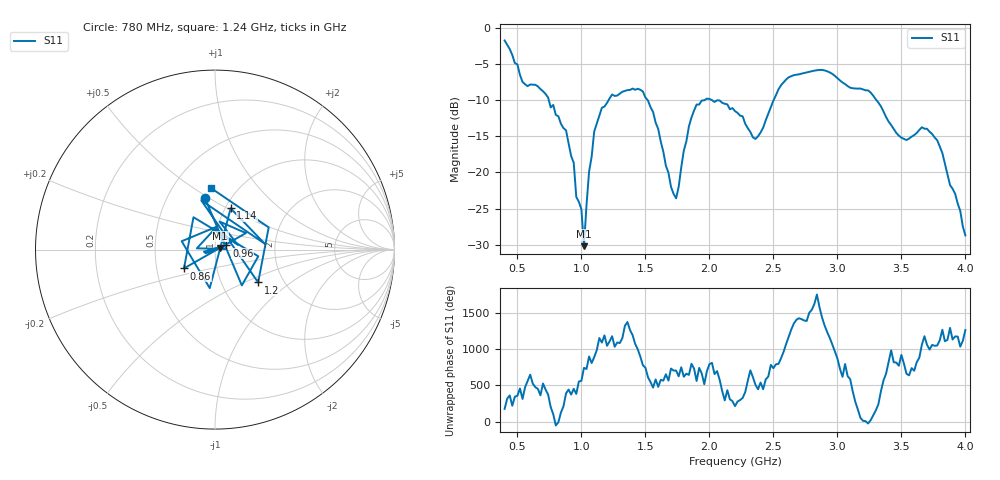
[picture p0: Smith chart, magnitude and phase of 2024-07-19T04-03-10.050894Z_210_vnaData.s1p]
!Created with skrf (http://scikit-rf.org).
# Hz S RI R 50.0
!freq ReS11 ImS11
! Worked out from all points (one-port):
!   181 points, 400 MHz to 4 GHz, reference 50 ohm
!   lowest |S11| = -30.2 dB at 1.02 GHz (marker M1), VSWR 1.06, Z = 53 + j1.04 ohm
!   |S11| at or under -10 dB: 744.9 MHz to 1.213 GHz (468.3 MHz wide, 47.8 % of centre); 2.017 GHz to 2.502 GHz (485.1 MHz wide, 21.5 % of centre); 3.304 GHz to end of sweep (the widest 3 of 4)
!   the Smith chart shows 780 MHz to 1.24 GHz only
!   S11 on the Smith chart (normalised r, x): 780 MHz: 0.76, +0.48; 860 MHz: 0.69, -0.15; 960 MHz: 1.13, +0.05; 1.14 GHz: 1.06, +0.52; 1.2 GHz: 1.49, -0.60; 1.24 GHz: 0.75, +0.59
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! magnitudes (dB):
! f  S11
! 400 MHz  -1.8
! 540 MHz  -7.5
! 780 MHz  -10.7
! 860 MHz  -13.9
! 940 MHz  -18.7
! 960 MHz  -23.4
! 1 GHz  -25.1
! 1.02 GHz  -30.2
! 1.06 GHz  -19.9
! 1.1 GHz  -14.4
! 1.14 GHz  -12.2
! 1.2 GHz  -10.4
! 1.24 GHz  -9.2
! 1.3 GHz  -9.1
! 1.48 GHz  -8.8
! 1.6 GHz  -14.0
! 1.72 GHz  -23.0
! 1.76 GHz  -22.0
! 1.84 GHz  -13.6
! 1.9 GHz  -10.6
! 2.2 GHz  -11.5
! 2.36 GHz  -15.4
! 2.66 GHz  -6.6
! 3.1 GHz  -8.3
! 3.26 GHz  -9.0
! 3.56 GHz  -15.3
! 3.78 GHz  -15.6
! 4 GHz  -28.7
